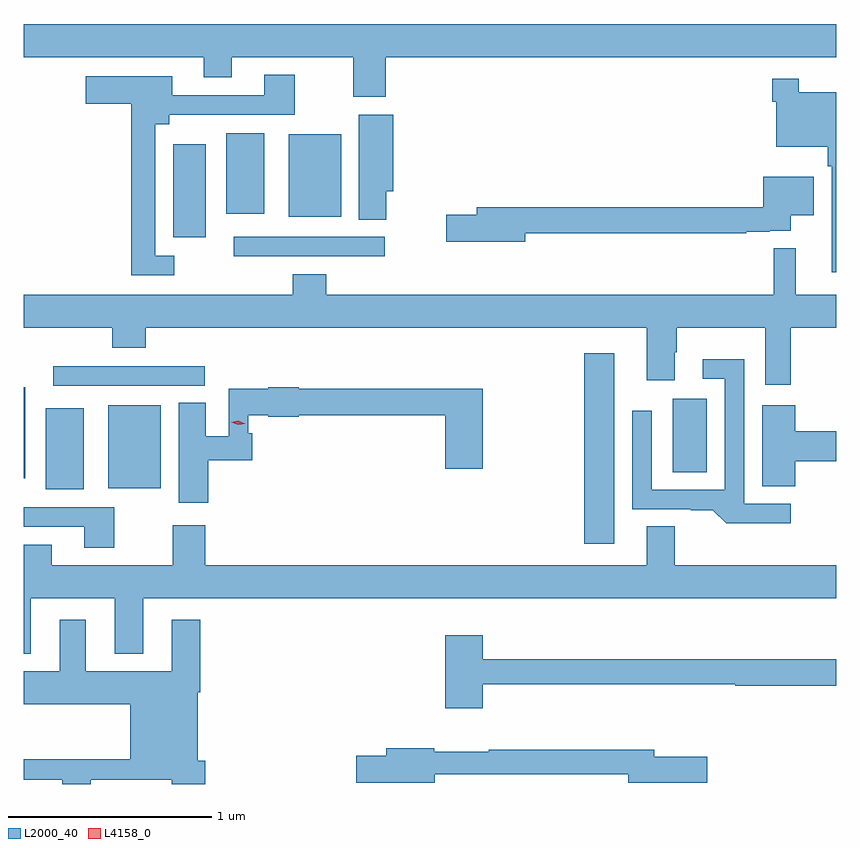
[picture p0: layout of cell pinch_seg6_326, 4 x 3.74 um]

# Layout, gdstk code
import gdstk
lib = gdstk.Library(unit=1e-6, precision=1e-09)
def R(c, l, rs):  # rectangles x0, y0, x1, y1
    for r in rs: c.add(gdstk.rectangle(r[:2], r[2:], *l))
def P(c, l, *ps):  # polygons
    for p in ps: c.add(gdstk.Polygon(p, *l))
L2000_40 = (2000, 40)
L4158_0 = (4158, 0)

pinch_seg6_326 = lib.new_cell('pinch_seg6_326')
R(pinch_seg6_326, L2000_40, [(738.332,986.232,738.478,987.172), (735.68,986.501,735.868,986.899), (735.989,986.507,736.246,986.914), (735.572,986.556,735.58,987.004), (738.767,986.584,738.934,986.947), (735.717,987.012,736.462,987.108), (736.605,987.648,737.35,987.744), (736.307,987.743,736.468,988.201), (736.877,987.842,737.134,988.249), (736.568,987.857,736.756,988.255)])
P(pinch_seg6_326, L2000_40, [(735.572,988.628),(736.457,988.628),(736.457,988.529),(736.597,988.529),(736.597,988.628),(737.194,988.628),(737.194,988.434),(737.354,988.434),(737.354,988.628),(739.572,988.628),(739.572,988.792),(735.572,988.792)],
  [(736.312,987.651),(736.218,987.651),(736.218,988.298),(736.288,988.298),(736.288,988.344),(736.905,988.344),(736.905,988.543),(736.757,988.543),(736.757,988.44),(736.303,988.44),(736.303,988.534),(735.876,988.534),(735.876,988.4),(736.102,988.4),(736.102,987.555),(736.312,987.555)],
  [(739.572,988.456),(739.387,988.456),(739.387,988.522),(739.258,988.522),(739.258,988.409),(739.278,988.409),(739.278,988.187),(739.531,988.187),(739.531,988.091),(739.551,988.091),(739.551,987.57),(739.572,987.57)],
  [(737.356,987.969),(737.39,987.969),(737.39,988.345),(737.222,988.345),(737.222,987.829),(737.356,987.829)],
  [(738.04,987.762),(739.13,987.762),(739.13,987.768),(739.244,987.768),(739.244,987.774),(739.348,987.774),(739.348,987.851),(739.462,987.851),(739.462,988.039),(739.214,988.039),(739.214,987.89),(737.801,987.89),(737.801,987.854),(737.652,987.854),(737.652,987.719),(738.04,987.719)],
  [(739.349,987.296),(739.572,987.296),(739.572,987.46),(739.373,987.46),(739.373,987.689),(739.264,987.689),(739.264,987.46),(737.06,987.46),(737.06,987.559),(736.895,987.559),(736.895,987.46),(735.572,987.46),(735.572,987.296),(736.007,987.296),(736.007,987.197),(736.172,987.197),(736.172,987.296),(738.638,987.296),(738.638,987.039),(738.778,987.039),(738.778,987.176),(738.786,987.176),(738.786,987.296),(739.223,987.296),(739.223,987.015),(739.349,987.015)],
  [(739.348,986.43),(739.119,986.43),(739.119,987.142),(738.915,987.142),(738.915,987.045),(739.023,987.045),(739.023,986.499),(738.663,986.499),(738.663,986.887),(738.567,986.887),(738.567,986.403),(738.857,986.403),(738.857,986.398),(738.965,986.398),(739.031,986.333),(739.348,986.333)],
  [(736.481,986.644),(736.697,986.644),(736.697,986.777),(736.677,986.777),(736.677,986.866),(736.776,986.866),(736.776,986.858),(736.926,986.858),(736.926,986.866),(737.648,986.866),(737.648,986.601),(737.831,986.601),(737.831,986.995),(736.926,986.995),(736.926,987.003),(736.776,987.003),(736.776,986.995),(736.581,986.995),(736.581,986.763),(736.468,986.763),(736.468,986.927),(736.334,986.927),(736.334,986.436),(736.481,986.436)],
  [(739.37,986.639),(739.572,986.639),(739.572,986.786),(739.37,986.786),(739.37,986.914),(739.208,986.914),(739.208,986.515),(739.37,986.515)],
  [(736.017,986.412),(735.572,986.412),(735.572,986.316),(735.869,986.316),(735.869,986.214),(736.017,986.214)],
  [(735.607,985.964),(736.019,985.964),(736.019,985.691),(736.159,985.691),(736.159,985.964),(739.572,985.964),(739.572,986.128),(738.778,986.128),(738.778,986.318),(738.638,986.318),(738.638,986.128),(736.466,986.128),(736.466,986.323),(736.306,986.323),(736.306,986.128),(735.709,986.128),(735.709,986.227),(735.572,986.227),(735.572,985.691),(735.607,985.691)],
  [(735.901,985.071),(736.301,985.071),(736.301,985.05),(736.466,985.05),(736.466,985.164),(736.429,985.164),(736.429,985.502),(736.442,985.502),(736.442,985.858),(736.301,985.858),(736.301,985.606),(735.877,985.606),(735.877,985.858),(735.749,985.858),(735.749,985.606),(735.572,985.606),(735.572,985.442),(736.097,985.442),(736.097,985.172),(735.572,985.172),(735.572,985.071),(735.761,985.071),(735.761,985.05),(735.901,985.05)],
  [(737.831,985.542),(739.075,985.542),(739.075,985.534),(739.572,985.534),(739.572,985.663),(737.831,985.663),(737.831,985.783),(737.648,985.783),(737.648,985.422),(737.831,985.422)],
  [(737.596,985.098),(738.548,985.098),(738.548,985.055),(738.937,985.055),(738.937,985.185),(738.676,985.185),(738.676,985.219),(737.861,985.219),(737.861,985.208),(737.592,985.208),(737.592,985.226),(737.357,985.226),(737.357,985.19),(737.208,985.19),(737.208,985.055),(737.596,985.055)])
P(pinch_seg6_326, L4158_0, [(736.627,986.818),(736.594,986.831),(736.593,986.831),(736.594,986.831),(736.629,986.838),(736.662,986.824),(736.662,986.824),(736.662,986.824)])

lib.write_gds('pinch_seg6_326.gds')
